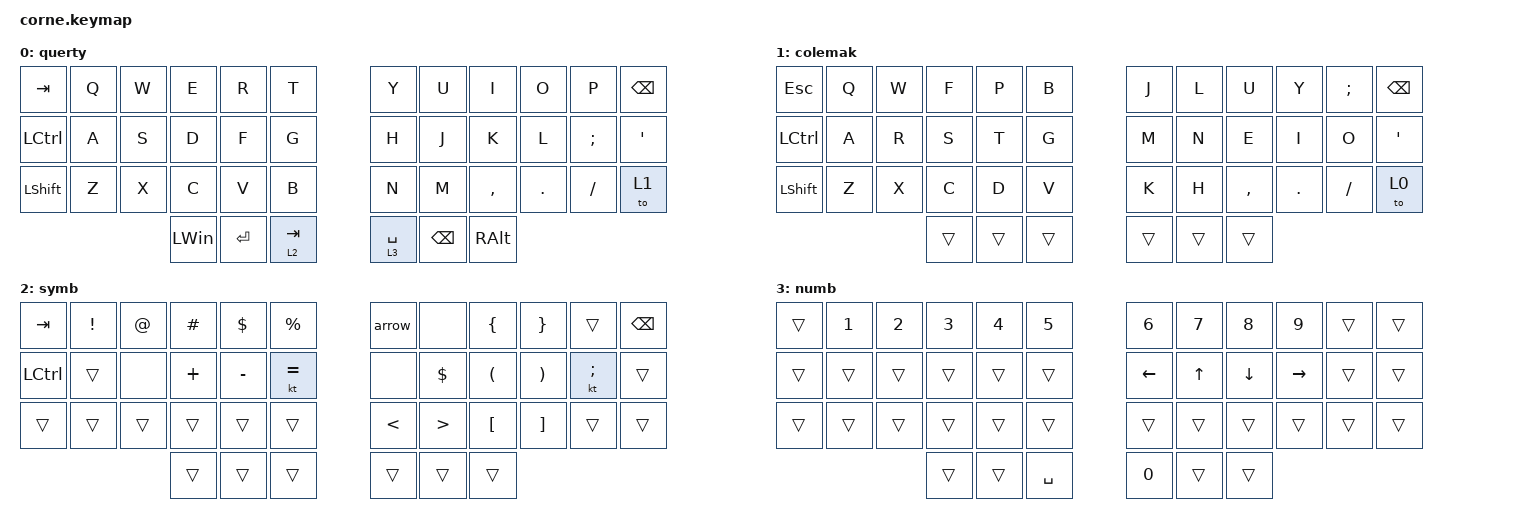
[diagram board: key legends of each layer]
/*
 * Copyright (c) 2020 The ZMK Contributors
 *
 * SPDX-License-Identifier: MIT
 */

#include <behaviors.dtsi>
#include <dt-bindings/zmk/keys.h>
#include <dt-bindings/zmk/keys.h>

/ {
    combos {
        compatible = "zmk,combos";

        to_colemak {
            bindings = <&to 1>;
            key-positions = <37 40>;
            layers = <0>;
        };

        to_qwerty {
            bindings = <&to 0>;
            key-positions = <37 40>;
            layers = <1>;
        };

        arrow {
            bindings = <&arrow>;
            key-positions = <16 31>;
        };

        copy {
            bindings = <&copy>;
            key-positions = <27 28>;
        };

        paste {
            bindings = <&paste>;
            key-positions = <28 29>;
        };
    };

    macros {
        arrow: arrow {
            compatible = "zmk,behavior-macro";
            #binding-cells = <0>;
            bindings = <&kt MINUS &kp GT>;
            label = "ARROW";
        };

        copy: copy {
            compatible = "zmk,behavior-macro";
            #binding-cells = <0>;
            bindings = <&kp LG(C)>;
            label = "COPY";
        };

        paste: paste {
            compatible = "zmk,behavior-macro";
            #binding-cells = <0>;
            bindings = <&kp LG(V)>;
            label = "PASTE";
        };
    };

    keymap {
        compatible = "zmk,keymap";

        qwerty {
            // -----------------------------------------------------------------------------------------
            // |  TAB |  Q  |  W  |  E  |  R  |  T  |   |  Y  |  U   |  I  |  O  |  P  | BKSP |
            // | CTRL |  A  |  S  |  D  |  F  |  G  |   |  H  |  J   |  K  |  L  |  ;  |  '   |
            // | SHFT |  Z  |  X  |  C  |  V  |  B  |   |  N  |  M   |  ,  |  .  |  /  | ESC  |
            //                    | GUI | LWR | SPC |   | ENT | RSE  | ALT |

            bindings = <
&kp TAB    &kp Q  &kp W  &kp E         &kp R      &kp T        &kp Y        &kp U          &kp I          &kp O    &kp P     &kp BSPC
&kp LCTRL  &kp A  &kp S  &kp D         &kp F      &kp G        &kp H        &kp J          &kp K          &kp L    &kp SEMI  &kp SQT
&kp LSHFT  &kp Z  &kp X  &kp C         &kp V      &kp B        &kp N        &kp M          &kp COMMA      &kp DOT  &kp FSLH  &to 1
                         &kp LEFT_WIN  &kp ENTER  &lt 2 TAB    &lt 3 SPACE  &kp BACKSPACE  &kp RIGHT_ALT
            >;

            label = "querty";
        };

        colemak-DH {
            label = "colemak";
            bindings = <
&kp ESC    &kp Q  &kp W  &kp F   &kp P   &kp B     &kp J   &kp L   &kp U      &kp Y    &kp SEMI  &kp BSPC
&kp LCTRL  &kp A  &kp R  &kp S   &kp T   &kp G     &kp M   &kp N   &kp E      &kp I    &kp O     &kp APOS
&kp LSHFT  &kp Z  &kp X  &kp C   &kp D   &kp V     &kp K   &kp H   &kp COMMA  &kp DOT  &kp FSLH  &to 0
                         &trans  &trans  &trans    &trans  &trans  &trans
            >;
        };

        symb {
            bindings = <
&kp TAB    &kp EXCL  &kp AT  &kp HASH  &kp DOLLAR  &kp PERCENT    &arrow  &none       &kp LEFT_BRACE        &kp RIGHT_BRACE        &trans         &kp BSPC
&kp LCTRL  &trans    &none   &kp PLUS  &kp MINUS   &kt EQUAL      &none   &kp DOLLAR  &kp LEFT_PARENTHESIS  &kp RIGHT_PARENTHESIS  &kt SEMICOLON  &trans
&trans     &trans    &trans  &trans    &trans      &trans         &kp LT  &kp GT      &kp LEFT_BRACKET      &kp RIGHT_BRACKET      &trans         &trans
                             &trans    &trans      &trans         &trans  &trans      &trans
            >;

            label = "symb";
        };

        numb {
            bindings = <
&trans  &kp N1  &kp N2  &kp N3  &kp N4  &kp N5       &kp N6          &kp N7        &kp N8          &kp N9           &trans  &trans
&trans  &trans  &trans  &trans  &trans  &trans       &kp LEFT_ARROW  &kp UP_ARROW  &kp DOWN_ARROW  &kp RIGHT_ARROW  &trans  &trans
&trans  &trans  &trans  &trans  &trans  &trans       &trans          &trans        &trans          &trans           &trans  &trans
                        &trans  &trans  &kp SPACE    &kp N0          &trans        &trans
            >;

            label = "numb";
        };
    };
};
